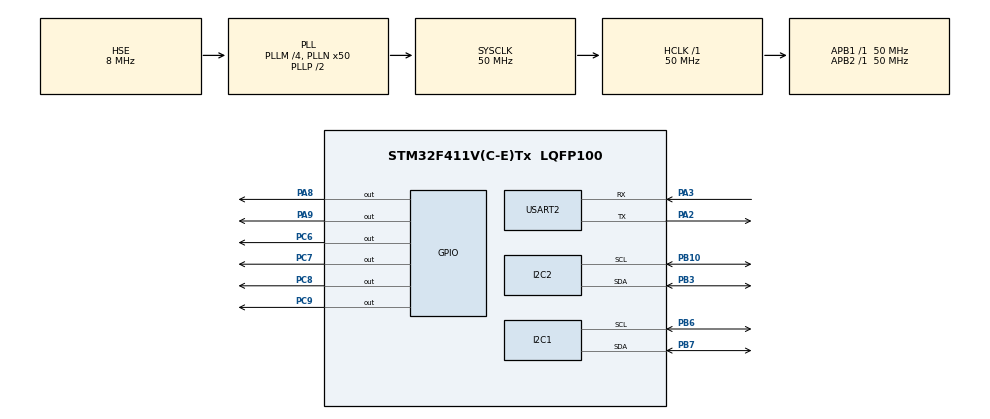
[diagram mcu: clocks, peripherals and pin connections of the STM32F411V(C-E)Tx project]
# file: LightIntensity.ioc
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Mcu.Family=STM32F4
Mcu.Name=STM32F411V(C-E)Tx
Mcu.Package=LQFP100
NVIC.PriorityGroup=NVIC_PRIORITYGROUP_4
NVIC.USART2_IRQn=true\:0\:0\:false\:false\:true\:true\:true
PA13.Mode=Serial_Wire
PA13.Signal=SYS_JTMS-SWDIO
PA14.Mode=Serial_Wire
PA14.Signal=SYS_JTCK-SWCLK
PA2.Mode=Asynchronous
PA2.Signal=USART2_TX
PA3.Mode=Asynchronous
PA3.Signal=USART2_RX
PA8.Signal=GPIO_Output
PA9.Signal=GPIO_Output
PB10.Mode=I2C
PB10.Signal=I2C2_SCL
PB3.Mode=I2C
PB3.Signal=I2C2_SDA
PB6.Mode=I2C
PB6.Signal=I2C1_SCL
PB7.Mode=I2C
PB7.Signal=I2C1_SDA
PC6.Signal=GPIO_Output
PC7.Signal=GPIO_Output
PC8.Signal=GPIO_Output
PC9.Signal=GPIO_Output
PH0\ -\ OSC_IN.Mode=HSE-External-Oscillator
PH0\ -\ OSC_IN.Signal=RCC_OSC_IN
PH1\ -\ OSC_OUT.Mode=HSE-External-Oscillator
PH1\ -\ OSC_OUT.Signal=RCC_OSC_OUT
ProjectManager.HeapSize=0x200
ProjectManager.StackSize=0x400
ProjectManager.TargetToolchain=MDK-ARM V5.27
RCC.48MHZClocksFreq_Value=25000000
RCC.AHBFreq_Value=50000000
RCC.APB1Freq_Value=50000000
RCC.APB1TimFreq_Value=50000000
RCC.APB2Freq_Value=50000000
RCC.APB2TimFreq_Value=50000000
RCC.CortexFreq_Value=50000000
RCC.HCLKFreq_Value=50000000
RCC.HSE_VALUE=8000000
RCC.HSI_VALUE=16000000
RCC.LSE_VALUE=32768
RCC.PLLM=4
RCC.PLLN=50
RCC.PLLSourceVirtual=RCC_PLLSOURCE_HSE
RCC.SYSCLKFreq_VALUE=50000000
RCC.SYSCLKSource=RCC_SYSCLKSOURCE_PLLCLK
RCC.VCOOutputFreq_Value=100000000
TIM2.Period=0xffff-1
TIM2.Prescaler=50-1
USART2.VirtualMode=VM_ASYNC
VP_TIM2_VS_ClockSourceINT.Mode=Internal
board=custom

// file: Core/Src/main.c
/* USER CODE BEGIN Header */
/**
  ******************************************************************************
  * @file           : main.c
  * @brief          : Main program body
  ******************************************************************************
  * @attention
  *
  * <h2><center>&copy; Copyright (c) 2021 STMicroelectronics.
  * All rights reserved.</center></h2>
  *
  * This software component is licensed by ST under BSD 3-Clause license,
  * the "License"; You may not use this file except in compliance with the
  * License. You may obtain a copy of the License at:
  *                        opensource.org/licenses/BSD-3-Clause
  *
  ******************************************************************************
  */
/* USER CODE END Header */
#include "main.h"

/* USER CODE BEGIN Includes */
#include <stdio.h>
#include "StepperDriver.h"
#include "TCA9548A_Driver.h"
#include "BH1750_Driver.h"

/* USER CODE END Includes */

I2C_HandleTypeDef hi2c1;
I2C_HandleTypeDef hi2c2;

TIM_HandleTypeDef htim2;

UART_HandleTypeDef huart2;

/* USER CODE BEGIN PV */
// Variable of System
typedef enum {
	IDLE = 0,
	RUN_STEPPER = 1,
	READ_SENSOR = 2
} MODE;

MODE program = IDLE;

// Variables for Step
Stepper_HandleTypeDef Step0;
Stepper_HandleTypeDef Step1;
Stepper_HandleTypeDef Step2;

uint8_t data[12];
uint16_t info0, info1, info2;
uint8_t flag;

uint8_t CurCompleted[] = "\nSet Current Position completed!\n";
uint8_t TarCompleted[] = "\nSet Target Position completed!\n";
uint8_t Done[] = "\nDone!!!\n";

// Variables for Sensor
TCA9548A_HandleTypeDef i2cHub;
BH1750_HandleTypeDef sensor[4];
uint8_t TCAAddress = (0x70 << 1);
float result[4];
char message[10];
uint8_t ret;

/* USER CODE END PV */

void SystemClock_Config(void);
static void MX_GPIO_Init(void);
static void MX_I2C1_Init(void);
static void MX_USART2_UART_Init(void);
static void MX_TIM2_Init(void);
static void MX_I2C2_Init(void);

/* USER CODE BEGIN 0 */

// Additional functions
void delay_us(uint16_t us)
{
   __HAL_TIM_SET_COUNTER(&htim2,0);  // set the counter value a 0
   while ((uint16_t)__HAL_TIM_GET_COUNTER(&htim2) < us);
}

// Hold 3 board to avoid collision
void keepMotorSafe() {
	uint32_t X0, X1, X2;
	X0 = Step0.TargetPulse;
	X1 = Step1.TargetPulse;
	X2 = Step2.TargetPulse;

	// Step 1
	if (X1 > 359 * FACTOR) 				X1 = 359 * FACTOR;
	if (X1 < (110 * FACTOR)) 			X1 = 110 * FACTOR;

	// Step 2
	if (X2 > 462 * FACTOR) 				X2 = 462 * FACTOR;
	if (X2 < 212 * FACTOR) 				X2 = 212 * FACTOR;
	if (X2 < (X1 + 103 * FACTOR)) X2 = X1 + 103 * FACTOR;

	// Step0
	if (X0 > 259 * FACTOR) 				X0 = 259 * FACTOR;
	if (X0 < (8 * FACTOR)) 				X0 = 8 * FACTOR;
	if (X0 > (X1 - 103 * FACTOR)) X0 = X1 - 103 * FACTOR;

	Step0.TargetPulse = X0;
	Step1.TargetPulse = X1;
	Step2.TargetPulse = X2;
}

// Transmision Data via UART
void decryption(uint8_t *data) {
	info0 = (data[3] - '0') * 100 + (data[4] - '0') * 10 + (data[5] - '0');
	info1 = (data[6] - '0') * 100 + (data[7] - '0') * 10 + (data[8] - '0');
	info2 = (data[9] - '0') * 100 + (data[10] - '0') * 10 + (data[11] - '0');

}
void ManualControl() {
	switch (data[1]) {
		// Stepper
		case 'S':
		{
			switch (data[2]){
				case 'C': // Set current position
					decryption(data);
					// Set both Cur and Tar to prevent motor running after set Current Pos
					setCurrentPos(&Step0, info0);
					setCurrentPos(&Step1, info1);
					setCurrentPos(&Step2, info2);
					HAL_UART_Transmit_IT(&huart2, (uint8_t *)CurCompleted, sizeof(CurCompleted));
					break;
				case 'T': // Set target position
					decryption(data);
					setTargetPos(&Step0, info0);
					setTargetPos(&Step1, info1);
					setTargetPos(&Step2, info2);
					keepMotorSafe();
					HAL_UART_Transmit_IT(&huart2, (uint8_t *)TarCompleted, sizeof(TarCompleted));
					program = RUN_STEPPER;
					break;
			}
			break;
		}
		// Read Sensor
		case 'R':
		{
			program = READ_SENSOR;
			break;
		}
	}
}

void AutoControl() {

}

void HAL_UART_RxCpltCallback(UART_HandleTypeDef *huart)
{
  if (huart->Instance == huart2.Instance) {
		// Convert data to information
		switch (data[0]) {
			// Manual, control and get data via UART
			case 'M':
				ManualControl();
				break;
			case 'A':
				AutoControl();
				break;
		}
		HAL_UART_Receive_IT(&huart2, (uint8_t *)data, 12);
	}

}

/* USER CODE END 0 */

int main(void)
{

  /* MCU Configuration--------------------------------------------------------*/

  /* Reset of all peripherals, Initializes the Flash interface and the Systick. */
  HAL_Init();

  /* Configure the system clock */
  SystemClock_Config();

  /* Initialize all configured peripherals */
  MX_GPIO_Init();
  MX_I2C1_Init();
  MX_USART2_UART_Init();
  MX_TIM2_Init();
  MX_I2C2_Init();
  /* USER CODE BEGIN 2 */
  HAL_TIM_Base_Start(&htim2);

	// Init STEP
	StepperInit(&Step0, GPIOA, GPIO_PIN_9, GPIO_PIN_8, 32, 0);
	StepperInit(&Step1, GPIOC, GPIO_PIN_9, GPIO_PIN_8, 32, 0);
	StepperInit(&Step2, GPIOC, GPIO_PIN_7, GPIO_PIN_6, 32, 0);

	// Init UART
	HAL_UART_Receive_IT(&huart2, (uint8_t *)data, 12);

	// Init Sensor
	TCA9548A_Init(&i2cHub, &hi2c1, TCAAddress);
	for (uint8_t i = 0; i < 4; i++) {
		TCA9548A_SelectSingleChannel(&i2cHub, i);
		BH1750_Init(&sensor[i], &hi2c1, BH1750_ADDRESS_LOW);
		BH1750_PowerState(&sensor[i], 1);
		BH1750_SetMode(&sensor[i], CONTINUOUS_H_RES_MODE);
	}

  /* USER CODE END 2 */

  /* Infinite loop */
  while (1)
  {

    /* USER CODE BEGIN 3 */
		if (program == RUN_STEPPER) {
			// Check target

			runToTarget(&Step0);
			runToTarget(&Step1);
			runToTarget(&Step2);
		}
		else if (program == READ_SENSOR) {
				for (uint8_t i = 0; i < 4; i++) {
				TCA9548A_SelectSingleChannel(&i2cHub, i);
				BH1750_ReadLight(&sensor[i], &result[i]);

				ret = snprintf(message, sizeof(message), "%f", result[i]);
				if (i < 3) message[9] = ' ';
				else message[9] = '\n';
				HAL_UART_Transmit(&huart2, (uint8_t *)message, 10, 10);
				program = IDLE;
			}
		}

  }
  /* USER CODE END 3 */
}

void SystemClock_Config(void)
{
  RCC_OscInitTypeDef RCC_OscInitStruct = {0};
  RCC_ClkInitTypeDef RCC_ClkInitStruct = {0};

  /** Configure the main internal regulator output voltage
  */
  __HAL_RCC_PWR_CLK_ENABLE();
  __HAL_PWR_VOLTAGESCALING_CONFIG(PWR_REGULATOR_VOLTAGE_SCALE1);
  /** Initializes the RCC Oscillators according to the specified parameters
  * in the RCC_OscInitTypeDef structure.
  */
  RCC_OscInitStruct.OscillatorType = RCC_OSCILLATORTYPE_HSE;
  RCC_OscInitStruct.HSEState = RCC_HSE_ON;
  RCC_OscInitStruct.PLL.PLLState = RCC_PLL_ON;
  RCC_OscInitStruct.PLL.PLLSource = RCC_PLLSOURCE_HSE;
  RCC_OscInitStruct.PLL.PLLM = 4;
  RCC_OscInitStruct.PLL.PLLN = 50;
  RCC_OscInitStruct.PLL.PLLP = RCC_PLLP_DIV2;
  RCC_OscInitStruct.PLL.PLLQ = 4;
  if (HAL_RCC_OscConfig(&RCC_OscInitStruct) != HAL_OK)
  {
    Error_Handler();
  }
  /** Initializes the CPU, AHB and APB buses clocks
  */
  RCC_ClkInitStruct.ClockType = RCC_CLOCKTYPE_HCLK|RCC_CLOCKTYPE_SYSCLK
                              |RCC_CLOCKTYPE_PCLK1|RCC_CLOCKTYPE_PCLK2;
  RCC_ClkInitStruct.SYSCLKSource = RCC_SYSCLKSOURCE_PLLCLK;
  RCC_ClkInitStruct.AHBCLKDivider = RCC_SYSCLK_DIV1;
  RCC_ClkInitStruct.APB1CLKDivider = RCC_HCLK_DIV1;
  RCC_ClkInitStruct.APB2CLKDivider = RCC_HCLK_DIV1;

  if (HAL_RCC_ClockConfig(&RCC_ClkInitStruct, FLASH_LATENCY_1) != HAL_OK)
  {
    Error_Handler();
  }
}

static void MX_I2C1_Init(void)
{

  hi2c1.Instance = I2C1;
  hi2c1.Init.ClockSpeed = 100000;
  hi2c1.Init.DutyCycle = I2C_DUTYCYCLE_2;
  hi2c1.Init.OwnAddress1 = 0;
  hi2c1.Init.AddressingMode = I2C_ADDRESSINGMODE_7BIT;
  hi2c1.Init.DualAddressMode = I2C_DUALADDRESS_DISABLE;
  hi2c1.Init.OwnAddress2 = 0;
  hi2c1.Init.GeneralCallMode = I2C_GENERALCALL_DISABLE;
  hi2c1.Init.NoStretchMode = I2C_NOSTRETCH_DISABLE;
  if (HAL_I2C_Init(&hi2c1) != HAL_OK)
  {
    Error_Handler();
  }

}

static void MX_I2C2_Init(void)
{

  hi2c2.Instance = I2C2;
  hi2c2.Init.ClockSpeed = 100000;
  hi2c2.Init.DutyCycle = I2C_DUTYCYCLE_2;
  hi2c2.Init.OwnAddress1 = 0;
  hi2c2.Init.AddressingMode = I2C_ADDRESSINGMODE_7BIT;
  hi2c2.Init.DualAddressMode = I2C_DUALADDRESS_DISABLE;
  hi2c2.Init.OwnAddress2 = 0;
  hi2c2.Init.GeneralCallMode = I2C_GENERALCALL_DISABLE;
  hi2c2.Init.NoStretchMode = I2C_NOSTRETCH_DISABLE;
  if (HAL_I2C_Init(&hi2c2) != HAL_OK)
  {
    Error_Handler();
  }

}

static void MX_TIM2_Init(void)
{

  TIM_ClockConfigTypeDef sClockSourceConfig = {0};
  TIM_MasterConfigTypeDef sMasterConfig = {0};

  htim2.Instance = TIM2;
  htim2.Init.Prescaler = 50-1;
  htim2.Init.CounterMode = TIM_COUNTERMODE_UP;
  htim2.Init.Period = 0xffff-1;
  htim2.Init.ClockDivision = TIM_CLOCKDIVISION_DIV1;
  htim2.Init.AutoReloadPreload = TIM_AUTORELOAD_PRELOAD_DISABLE;
  if (HAL_TIM_Base_Init(&htim2) != HAL_OK)
  {
    Error_Handler();
  }
  sClockSourceConfig.ClockSource = TIM_CLOCKSOURCE_INTERNAL;
  if (HAL_TIM_ConfigClockSource(&htim2, &sClockSourceConfig) != HAL_OK)
  {
    Error_Handler();
  }
  sMasterConfig.MasterOutputTrigger = TIM_TRGO_RESET;
  sMasterConfig.MasterSlaveMode = TIM_MASTERSLAVEMODE_DISABLE;
  if (HAL_TIMEx_MasterConfigSynchronization(&htim2, &sMasterConfig) != HAL_OK)
  {
    Error_Handler();
  }

}

static void MX_USART2_UART_Init(void)
{

  huart2.Instance = USART2;
  huart2.Init.BaudRate = 115200;
  huart2.Init.WordLength = UART_WORDLENGTH_8B;
  huart2.Init.StopBits = UART_STOPBITS_1;
  huart2.Init.Parity = UART_PARITY_NONE;
  huart2.Init.Mode = UART_MODE_TX_RX;
  huart2.Init.HwFlowCtl = UART_HWCONTROL_NONE;
  huart2.Init.OverSampling = UART_OVERSAMPLING_16;
  if (HAL_UART_Init(&huart2) != HAL_OK)
  {
    Error_Handler();
  }

}

static void MX_GPIO_Init(void)
{
  GPIO_InitTypeDef GPIO_InitStruct = {0};

  /* GPIO Ports Clock Enable */
  __HAL_RCC_GPIOH_CLK_ENABLE();
  __HAL_RCC_GPIOA_CLK_ENABLE();
  __HAL_RCC_GPIOB_CLK_ENABLE();
  __HAL_RCC_GPIOC_CLK_ENABLE();

  /*Configure GPIO pin Output Level */
  HAL_GPIO_WritePin(GPIOC, GPIO_PIN_6|GPIO_PIN_7|GPIO_PIN_8|GPIO_PIN_9, GPIO_PIN_RESET);

  /*Configure GPIO pin Output Level */
  HAL_GPIO_WritePin(GPIOA, GPIO_PIN_8|GPIO_PIN_9, GPIO_PIN_RESET);

  /*Configure GPIO pins : PC6 PC7 PC8 PC9 */
  GPIO_InitStruct.Pin = GPIO_PIN_6|GPIO_PIN_7|GPIO_PIN_8|GPIO_PIN_9;
  GPIO_InitStruct.Mode = GPIO_MODE_OUTPUT_PP;
  GPIO_InitStruct.Pull = GPIO_NOPULL;
  GPIO_InitStruct.Speed = GPIO_SPEED_FREQ_LOW;
  HAL_GPIO_Init(GPIOC, &GPIO_InitStruct);

  /*Configure GPIO pins : PA8 PA9 */
  GPIO_InitStruct.Pin = GPIO_PIN_8|GPIO_PIN_9;
  GPIO_InitStruct.Mode = GPIO_MODE_OUTPUT_PP;
  GPIO_InitStruct.Pull = GPIO_NOPULL;
  GPIO_InitStruct.Speed = GPIO_SPEED_FREQ_LOW;
  HAL_GPIO_Init(GPIOA, &GPIO_InitStruct);

}

void Error_Handler(void)
{
  __disable_irq();
  while (1)
  {
  }
}

/************************ (C) COPYRIGHT STMicroelectronics *****END OF FILE****/
